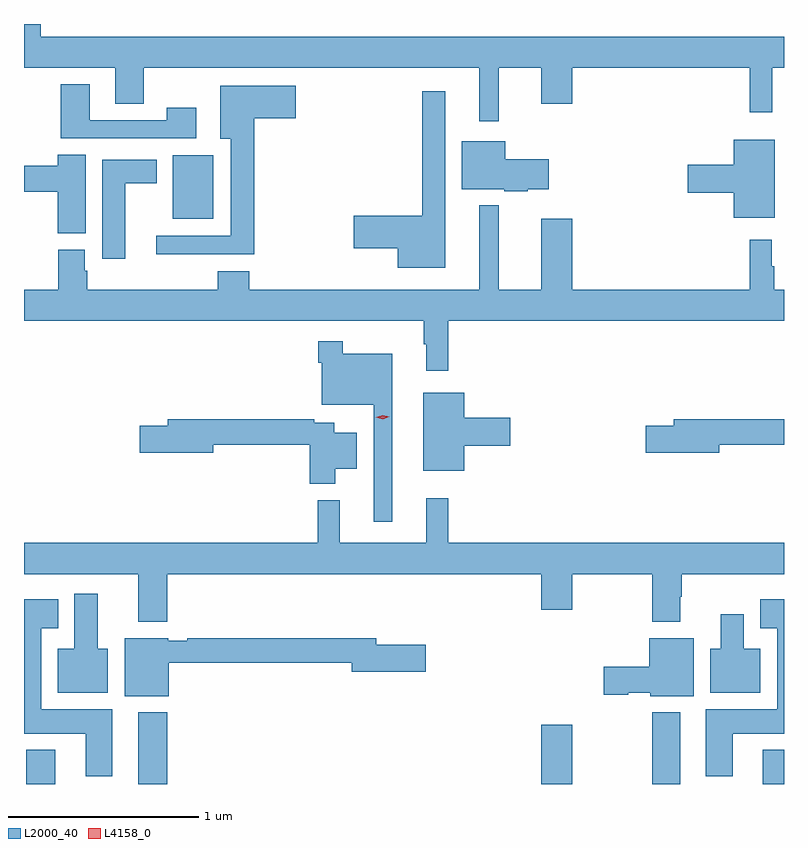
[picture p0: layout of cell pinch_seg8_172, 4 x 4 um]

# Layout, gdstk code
import gdstk
lib = gdstk.Library(unit=1e-6, precision=1e-09)
def R(c, l, rs):  # rectangles x0, y0, x1, y1
    for r in rs: c.add(gdstk.rectangle(r[:2], r[2:], *l))
def P(c, l, *ps):  # polygons
    for p in ps: c.add(gdstk.Polygon(p, *l))
L2000_40 = (2000, 40)
L4158_0 = (4158, 0)

pinch_seg8_172 = lib.new_cell('pinch_seg8_172')
R(pinch_seg8_172, L2000_40, [(689.771,1122.055,689.923,1122.235), (690.359,1122.055,690.512,1122.433), (692.48,1122.055,692.644,1122.367), (693.064,1122.055,693.211,1122.433), (693.647,1122.055,693.758,1122.235), (690.542,1125.029,690.754,1125.364)])
P(pinch_seg8_172, L2000_40, [(692.257,1125.824),(692.48,1125.824),(692.48,1125.636),(692.644,1125.636),(692.644,1125.824),(693.577,1125.824),(693.577,1125.591),(693.695,1125.591),(693.695,1125.824),(693.758,1125.824),(693.758,1125.988),(689.846,1125.988),(689.846,1126.055),(689.758,1126.055),(689.758,1125.824),(690.239,1125.824),(690.239,1125.634),(690.387,1125.634),(690.387,1125.824),(692.153,1125.824),(692.153,1125.543),(692.257,1125.543)],
  [(690.664,1125.613),(690.508,1125.613),(690.508,1125.549),(690.103,1125.549),(690.103,1125.739),(689.951,1125.739),(689.951,1125.453),(690.664,1125.453)],
  [(690.971,1125.56),(691.189,1125.56),(691.189,1125.73),(690.791,1125.73),(690.791,1125.452),(690.845,1125.452),(690.845,1124.94),(690.453,1124.94),(690.453,1124.843),(690.971,1124.843)],
  [(691.975,1125.7),(691.854,1125.7),(691.854,1125.047),(691.494,1125.047),(691.494,1124.876),(691.724,1124.876),(691.724,1124.771),(691.975,1124.771)],
  [(693.709,1125.445),(693.494,1125.445),(693.494,1125.314),(693.252,1125.314),(693.252,1125.167),(693.494,1125.167),(693.494,1125.035),(693.709,1125.035)],
  [(692.408,1125.185),(692.521,1125.185),(692.521,1125.343),(692.29,1125.343),(692.29,1125.439),(692.063,1125.439),(692.063,1125.185),(692.286,1125.185),(692.286,1125.175),(692.408,1125.175)],
  [(690.082,1125.368),(689.936,1125.368),(689.936,1125.308),(689.758,1125.308),(689.758,1125.172),(689.936,1125.172),(689.936,1124.953),(690.082,1124.953)],
  [(690.292,1125.218),(690.457,1125.218),(690.457,1125.34),(690.17,1125.34),(690.17,1124.82),(690.292,1124.82)],
  [(691.991,1124.492),(693.758,1124.492),(693.758,1124.656),(693.706,1124.656),(693.706,1124.78),(693.694,1124.78),(693.694,1124.92),(693.577,1124.92),(693.577,1124.656),(692.644,1124.656),(692.644,1125.031),(692.48,1125.031),(692.48,1124.656),(692.257,1124.656),(692.257,1124.993),(692.256,1124.993),(692.256,1125.1),(692.153,1125.1),(692.153,1124.656),(690.944,1124.656),(690.944,1124.755),(690.779,1124.755),(690.779,1124.656),(690.092,1124.656),(690.092,1124.757),(690.079,1124.757),(690.079,1124.868),(689.939,1124.868),(689.939,1124.656),(689.758,1124.656),(689.758,1124.492),(691.863,1124.492),(691.863,1124.369),(691.874,1124.369),(691.874,1124.229),(691.991,1124.229)],
  [(691.696,1124.32),(691.435,1124.32),(691.435,1124.386),(691.306,1124.386),(691.306,1124.273),(691.326,1124.273),(691.326,1124.051),(691.599,1124.051),(691.599,1123.434),(691.696,1123.434)],
  [(692.074,1123.835),(692.317,1123.835),(692.317,1123.982),(692.074,1123.982),(692.074,1124.113),(691.859,1124.113),(691.859,1123.703),(692.074,1123.703)],
  [(693.418,1123.84),(693.758,1123.84),(693.758,1123.976),(693.179,1123.976),(693.179,1123.94),(693.03,1123.94),(693.03,1123.798),(693.418,1123.798)],
  [(691.396,1123.715),(691.51,1123.715),(691.51,1123.903),(691.39,1123.903),(691.39,1123.956),(691.286,1123.956),(691.286,1123.976),(690.515,1123.976),(690.515,1123.94),(690.366,1123.94),(690.366,1123.798),(690.754,1123.798),(690.754,1123.84),(691.262,1123.84),(691.262,1123.634),(691.396,1123.634)],
  [(690.512,1123.16),(692.48,1123.16),(692.48,1122.972),(692.644,1122.972),(692.644,1123.16),(693.064,1123.16),(693.064,1122.908),(693.211,1122.908),(693.211,1123.04),(693.219,1123.04),(693.219,1123.16),(693.758,1123.16),(693.758,1123.324),(691.991,1123.324),(691.991,1123.558),(691.874,1123.558),(691.874,1123.324),(691.421,1123.324),(691.421,1123.549),(691.303,1123.549),(691.303,1123.324),(689.758,1123.324),(689.758,1123.16),(690.359,1123.16),(690.359,1122.908),(690.512,1122.908)],
  [(690.199,1122.766),(690.145,1122.766),(690.145,1123.057),(690.023,1123.057),(690.023,1122.766),(689.936,1122.766),(689.936,1122.536),(690.199,1122.536)],
  [(690.223,1122.448),(689.848,1122.448),(689.848,1122.875),(689.938,1122.875),(689.938,1123.027),(689.758,1123.027),(689.758,1122.32),(690.083,1122.32),(690.083,1122.096),(690.223,1122.096)],
  [(693.487,1122.32),(693.758,1122.32),(693.758,1123.027),(693.632,1123.027),(693.632,1122.875),(693.722,1122.875),(693.722,1122.448),(693.347,1122.448),(693.347,1122.096),(693.487,1122.096)],
  [(693.634,1122.766),(693.547,1122.766),(693.547,1122.949),(693.425,1122.949),(693.425,1122.766),(693.371,1122.766),(693.371,1122.536),(693.634,1122.536)],
  [(690.52,1122.694),(691.484,1122.694),(691.484,1122.647),(691.873,1122.647),(691.873,1122.789),(691.612,1122.789),(691.612,1122.823),(690.616,1122.823),(690.616,1122.81),(690.516,1122.81),(690.516,1122.823),(690.287,1122.823),(690.287,1122.518),(690.52,1122.518)],
  [(693.283,1122.823),(693.05,1122.823),(693.05,1122.671),(692.808,1122.671),(692.808,1122.524),(692.937,1122.524),(692.937,1122.536),(693.054,1122.536),(693.054,1122.518),(693.283,1122.518)])
P(pinch_seg8_172, L4158_0, [(691.646,1123.976),(691.61,1123.984),(691.609,1123.984),(691.61,1123.984),(691.645,1123.996),(691.681,1123.988),(691.681,1123.988),(691.681,1123.988)])

lib.write_gds('pinch_seg8_172.gds')
